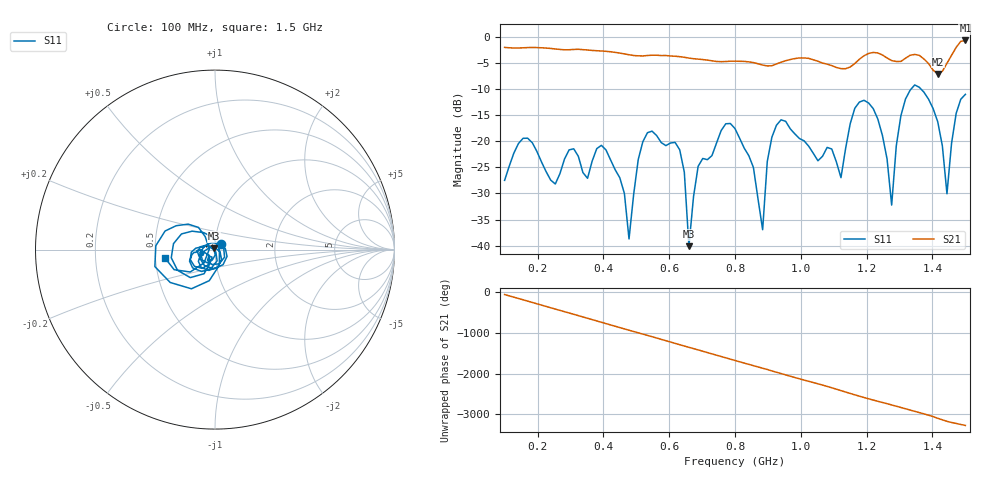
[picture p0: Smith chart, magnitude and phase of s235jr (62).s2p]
! NanoVNA-App
! Date: 2025-09-25 15:04:38
! Start: 100MHz Stop: 1,5GHz Points: 101
! S-Parameter data: F S11 S21 S12 S22
# Hz S RI R 50
!  Frequency  S11_Real  S11_Imag  S21_Real  S21_Imag  S12_Real  S12_Imag  S22_Real  S22_Imag
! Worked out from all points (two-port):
!   101 points, 100 MHz to 1.5 GHz, reference 50 ohm
!   highest |S21| = -0.63 dB at 1.5 GHz (marker M1); lowest = -7.0 dB at 1.416 GHz (marker M2)
!   |S21| within 3 dB of the highest: start of sweep to 609.6 MHz; 1.191 GHz to 1.253 GHz (62.57 MHz wide, 5.12 % of centre)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
!   lowest |S11| = -40.1 dB at 660 MHz (marker M3), VSWR 1.02, Z = 49.3 + j0.642 ohm
!   |S11| at or under -10 dB: start of sweep to 1.335 GHz; 1.366 GHz to end of sweep
!   S12 and S22 are empty: the file has one direction only
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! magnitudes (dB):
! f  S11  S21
! 100 MHz  -27.5  -2.0
! 156 MHz  -19.4  -2.0
! 338 MHz  -26.0  -2.4
! 408 MHz  -21.6  -2.7
! 478 MHz  -38.7  -3.4
! 520 MHz  -20.1  -3.6
! 576 MHz  -20.2  -3.5
! 632 MHz  -21.6  -3.7
! 660 MHz  -40.1  -4.0
! 688 MHz  -24.8  -4.2
! 800 MHz  -17.5  -4.6
! 884 MHz  -37.0  -5.3
! 898 MHz  -23.9  -5.5
! 926 MHz  -16.9  -5.1
! 1.038 GHz  -22.3  -4.3
! 1.122 GHz  -27.0  -6.0
! 1.206 GHz  -12.6  -3.1
! 1.276 GHz  -32.2  -4.5
! 1.332 GHz  -10.2  -3.5
! 1.416 GHz  -16.2  -7.0
! 1.444 GHz  -30.0  -5.0
! 1.5 GHz  -11.0  -0.6
